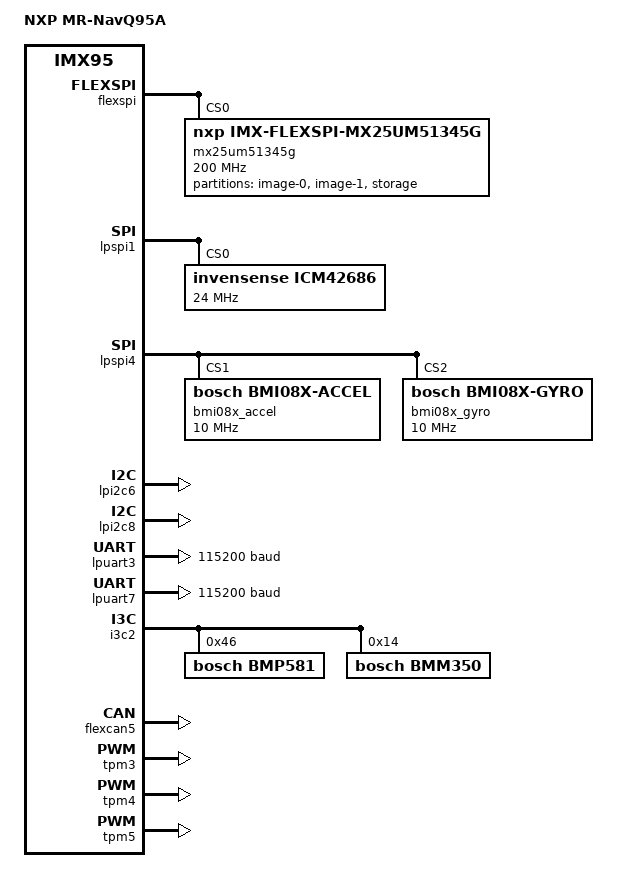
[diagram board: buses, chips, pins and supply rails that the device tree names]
/*
 * Copyright 2025 NXP
 *
 * SPDX-License-Identifier: Apache-2.0
 */

/dts-v1/;

#include <nxp/nxp_imx95_m7.dtsi>
#include <zephyr/dt-bindings/pwm/pwm.h>
#include "mr_navq95a-pinctrl.dtsi"
#include <zephyr/dt-bindings/sensor/icm42686.h>

/ {
	model = "NXP MR-NavQ95A";
	compatible = "nxp,navq95";

	chosen {
		/* TCM */
		zephyr,flash = &itcm;
		zephyr,sram = &dtcm;

		zephyr,flash-controller = &mx25um51345g;
		zephyr,console = &lpuart3;
		zephyr,shell-uart = &lpuart3;
		zephyr,canbus = &flexcan5;
	};
};

&flexspi {
	status = "okay";
	ahb-prefetch;
	ahb-read-addr-opt;
	ahb-bufferable;
	ahb-cacheable;
	rx-clock-source = <1>;
	pinctrl-0 = <&flexspi_default>;
	pinctrl-names = "default";
	mx25um51345g: mx25um51345g@0 {
		compatible = "nxp,imx-flexspi-mx25um51345g";
		/* MX25UM51345G is 64MB, 512MBit flash part */
		size = <DT_SIZE_M(64*8)>;
		reg = <0>;
		spi-max-frequency = <200000000>;
		status = "okay";
		jedec-id = [c2 81 3a];
		erase-block-size = <4096>;
		write-block-size = <2>;
		cs-interval = <2>;

		partitions {
			compatible = "fixed-partitions";
			#address-cells = <1>;
			#size-cells = <1>;

			/*
			 * Partition sizes must be aligned
			 * to the flash memory sector size of 4KB.
			 * 
			 * boot_partition is left out since that will
			 * run from ITCM
			 */
			slot0_partition: partition@0 {
				label = "image-0";
				reg = <0x00000000 DT_SIZE_M(7)>;
			};
			slot1_partition: partition@700000 {
				label = "image-1";
				reg = <0x00700000 DT_SIZE_M(7)>;
			};
			storage_partition: partition@E00000 {
				label = "storage";
				reg = <0x00E00000 DT_SIZE_M(2)>;
			};
		};
	};
};

&lpspi1 {
	pinctrl-0 = <&lpspi1_default>;
	pinctrl-names = "default";
	status = "okay";
	/* cs-gpios =<&gpio1 11 GPIO_ACTIVE_LOW>; */

	icm42686: icm42686@0 {
		compatible = "invensense,icm42686", "invensense,icm4268x";
		reg = <0>;
		/* int-gpios = <&gpio3 19 GPIO_ACTIVE_HIGH>; */
		spi-max-frequency = <DT_FREQ_M(24)>;
		spi-cs-setup-delay-ns = <50>;
		spi-cs-hold-delay-ns = <50>;
		spi-interframe-delay-ns = <50>;
		accel-pwr-mode = <ICM42686_DT_ACCEL_LN>;
		accel-odr = <ICM42686_DT_ACCEL_ODR_1000>;
		accel-fs = <ICM42686_DT_ACCEL_FS_16>;
		gyro-pwr-mode = <ICM42686_DT_GYRO_LN>;
		gyro-odr = <ICM42686_DT_GYRO_ODR_1000>;
		gyro-fs = <ICM42686_DT_GYRO_FS_2000>;
	};
};

&lpspi4 {
	pinctrl-0 = <&lpspi4_default>;
	pinctrl-names = "default";
	status = "okay";
	/* cs-gpios = <&gpio2 16 GPIO_ACTIVE_LOW>,
		<&gpio2 17 GPIO_ACTIVE_LOW>; */

	bmi08x_accel: bmi08x@1 {
		compatible = "bosch,bmi08x-accel";
		reg = <1>;
		/* int-gpios = <&gpio3 20 GPIO_ACTIVE_HIGH>; */
		spi-max-frequency = <DT_FREQ_M(10)>;
		spi-cs-setup-delay-ns = <50>;
		spi-cs-hold-delay-ns = <50>;
		spi-interframe-delay-ns = <50>;
		int1-map-io = <0x01>;
		int2-map-io = <0x00>;
		int1-conf-io = <0x04>;
		int2-conf-io = <0x00>;
		accel-hz = "800";
		accel-fs = <24>;
	};

	bmi08x_gyro: bmi08x@2 {
		compatible = "bosch,bmi08x-gyro";
		reg = <2>;
		/* int-gpios = <&gpio2 28 GPIO_ACTIVE_HIGH>; */
		spi-max-frequency = <DT_FREQ_M(10)>;
		spi-cs-setup-delay-ns = <50>;
		spi-cs-hold-delay-ns = <50>;
		spi-interframe-delay-ns = <50>;
		int3-4-map-io = <0x01>;
		int3-4-conf-io = <0x02>;
		gyro-hz = "1000_116";
		gyro-fs = <1000>;
	};
};

&lpi2c6 {
	status = "okay";
	pinctrl-0 = <&lpi2c6_default>;
	pinctrl-names = "default";
};

&lpi2c8 {
	status = "okay";
	pinctrl-0 = <&lpi2c8_default>;
	pinctrl-names = "default";
};

&lpuart3 {
	status = "okay";
	current-speed = <115200>;
	pinctrl-0 = <&lpuart3_default>;
	pinctrl-names = "default";
};

&lpuart7 {
	status = "okay";
	current-speed = <115200>;
	pinctrl-0 = <&lpuart7_default>;
	pinctrl-names = "default";
};

&i3c2 {
	pinctrl-0 = <&i3c2_default>;
	pinctrl-names = "default";
	status = "okay";
	i2c-scl-hz = <400000>;

	bmp581: bmp581@460000000000000050  {
		compatible = "bosch,bmp581";
		reg = <0x46 0x0 0x50>;
	};

	bmm350: bmm350@140000000000000050  {
		compatible = "bosch,bmm350";
		reg = <0x14 0x0 0x50>;
	};
};

&flexcan5 {
	pinctrl-0 = <&flexcan5_default>;
	pinctrl-names = "default";
	status = "okay";
};

&tpm3 {
	status = "okay";
	pinctrl-0 = <&tpm3_pwm1>;
	pinctrl-names = "default";
};

&tpm4 {
	compatible = "nxp,tpm-qdec";
	status = "okay";
	pinctrl-0 = <&tpm4_pwm2_pwm3>;
	pinctrl-names = "default";
	micro-ticks-per-rev = <685440000>;
	/delete-property/ prescaler;
};

&tpm5 {
	status = "okay";
	pinctrl-0 = <&tpm5_pwm4_pwm5_pwm6>;
	pinctrl-names = "default";
};
